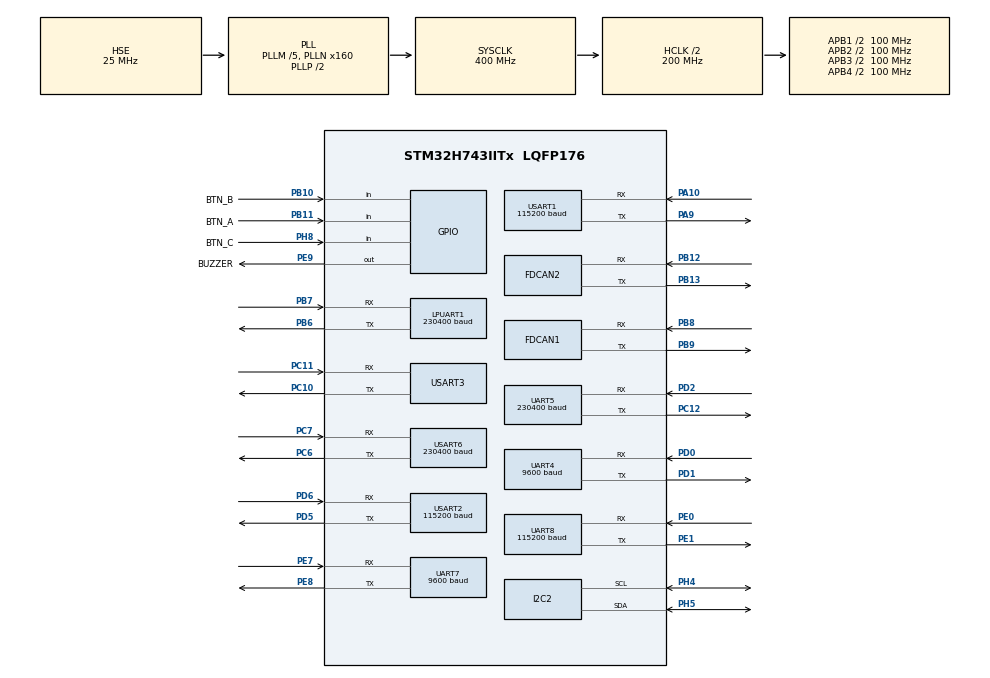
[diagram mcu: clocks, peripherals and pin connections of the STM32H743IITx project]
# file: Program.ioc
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CORTEX_M7.default_mode_Activation=1
Dma.Request0=USART1_RX
Dma.Request1=UART7_RX
Dma.UART7_RX.1.Direction=DMA_PERIPH_TO_MEMORY
Dma.UART7_RX.1.EventEnable=DISABLE
Dma.UART7_RX.1.FIFOMode=DMA_FIFOMODE_DISABLE
Dma.UART7_RX.1.Instance=DMA1_Stream1
Dma.UART7_RX.1.MemDataAlignment=DMA_MDATAALIGN_BYTE
Dma.UART7_RX.1.MemInc=DMA_MINC_ENABLE
Dma.UART7_RX.1.Mode=DMA_NORMAL
Dma.UART7_RX.1.PeriphDataAlignment=DMA_PDATAALIGN_BYTE
Dma.UART7_RX.1.PeriphInc=DMA_PINC_DISABLE
Dma.UART7_RX.1.Polarity=HAL_DMAMUX_REQ_GEN_RISING
Dma.UART7_RX.1.Priority=DMA_PRIORITY_MEDIUM
Dma.UART7_RX.1.RequestNumber=1
Dma.UART7_RX.1.SignalID=NONE
Dma.UART7_RX.1.SyncEnable=DISABLE
Dma.UART7_RX.1.SyncPolarity=HAL_DMAMUX_SYNC_NO_EVENT
Dma.UART7_RX.1.SyncRequestNumber=1
Dma.UART7_RX.1.SyncSignalID=NONE
Dma.USART1_RX.0.Direction=DMA_PERIPH_TO_MEMORY
Dma.USART1_RX.0.EventEnable=DISABLE
Dma.USART1_RX.0.FIFOMode=DMA_FIFOMODE_DISABLE
Dma.USART1_RX.0.Instance=DMA1_Stream0
Dma.USART1_RX.0.MemDataAlignment=DMA_MDATAALIGN_BYTE
Dma.USART1_RX.0.MemInc=DMA_MINC_ENABLE
Dma.USART1_RX.0.Mode=DMA_NORMAL
Dma.USART1_RX.0.PeriphDataAlignment=DMA_PDATAALIGN_BYTE
Dma.USART1_RX.0.PeriphInc=DMA_PINC_DISABLE
Dma.USART1_RX.0.Polarity=HAL_DMAMUX_REQ_GEN_RISING
Dma.USART1_RX.0.Priority=DMA_PRIORITY_MEDIUM
Dma.USART1_RX.0.RequestNumber=1
Dma.USART1_RX.0.SignalID=NONE
Dma.USART1_RX.0.SyncEnable=DISABLE
Dma.USART1_RX.0.SyncPolarity=HAL_DMAMUX_SYNC_NO_EVENT
Dma.USART1_RX.0.SyncRequestNumber=1
Dma.USART1_RX.0.SyncSignalID=NONE
FDCAN1.AutoRetransmission=ENABLE
FDCAN1.CalculateBaudRateNominal=1000000
FDCAN1.CalculateTimeBitNominal=1000
FDCAN1.CalculateTimeQuantumNominal=40.0
FDCAN1.DataPrescaler=4
FDCAN1.DataSyncJumpWidth=6
FDCAN1.DataTimeSeg1=18
FDCAN1.DataTimeSeg2=6
FDCAN1.FrameFormat=FDCAN_FRAME_CLASSIC
FDCAN1.NominalPrescaler=4
FDCAN1.NominalSyncJumpWidth=6
FDCAN1.NominalTimeSeg1=18
FDCAN1.NominalTimeSeg2=6
FDCAN1.ProtocolException=ENABLE
FDCAN1.RxFifo0ElmtsNbr=8
FDCAN1.StdFiltersNbr=1
FDCAN1.TxFifoQueueElmtsNbr=8
FDCAN2.AutoRetransmission=ENABLE
FDCAN2.CalculateBaudRateNominal=1000000
FDCAN2.CalculateTimeBitNominal=1000
FDCAN2.CalculateTimeQuantumNominal=40.0
FDCAN2.DataPrescaler=4
FDCAN2.DataSyncJumpWidth=6
FDCAN2.DataTimeSeg1=18
FDCAN2.DataTimeSeg2=6
FDCAN2.FrameFormat=FDCAN_FRAME_CLASSIC
FDCAN2.MessageRAMOffset=128
FDCAN2.NominalPrescaler=4
FDCAN2.NominalSyncJumpWidth=6
FDCAN2.NominalTimeSeg1=18
FDCAN2.NominalTimeSeg2=6
FDCAN2.ProtocolException=ENABLE
FDCAN2.RxFifo0ElmtsNbr=8
FDCAN2.StdFiltersNbr=1
FDCAN2.TxFifoQueueElmtsNbr=8
FREERTOS.Tasks01=defaultTask,24,256,StartDefaultTask,Default,NULL,Dynamic,NULL,NULL;chassisTask,40,1024,StartChassisTask,Default,NULL,Dynamic,NULL,NULL;armTask,32,512,StartArmTask,Default,NULL,Dynamic,NULL,NULL;armTestTask,16,256,StartArmTestTask,Default,NULL,Dynamic,NULL,NULL;canHostTask,24,512,StartCanHostTask,Default,NULL,Dynamic,NULL,NULL;OPSUartTask,24,1024,StartOPSUartTask,Default,NULL,Dynamic,NULL,NULL;oledTask,16,512,StartOledTask,Default,NULL,Dynamic,NULL,NULL
FREERTOS.configMINIMAL_STACK_SIZE=128
FREERTOS.configTIMER_TASK_STACK_DEPTH=256
FREERTOS.configTOTAL_HEAP_SIZE=65536
I2C2.Timing=0x00901954
LPUART1.BaudRate=230400
LPUART1.Parity=PARITY_NONE
LPUART1.StopBits=STOPBITS_1
LPUART1.VirtualMode-Asynchronous=VM_ASYNC
LPUART1.WordLength=WORDLENGTH_8B
Mcu.Family=STM32H7
Mcu.Name=STM32H743IITx
Mcu.Package=LQFP176
NVIC.DMA1_Stream0_IRQn=true\:5\:0\:false\:false\:true\:true\:true\:true\:true
NVIC.DMA1_Stream1_IRQn=true\:5\:0\:false\:false\:true\:true\:true\:true\:true
NVIC.FDCAN1_IT0_IRQn=true\:5\:0\:false\:false\:true\:true\:true\:true\:true
NVIC.FDCAN2_IT0_IRQn=true\:5\:0\:false\:false\:true\:true\:true\:true\:true
NVIC.LPUART1_IRQn=true\:5\:0\:false\:false\:true\:true\:true\:true\:true
NVIC.PriorityGroup=NVIC_PRIORITYGROUP_4
NVIC.TIM2_IRQn=true\:15\:0\:false\:false\:true\:false\:false\:true\:true
NVIC.TimeBase=TIM2_IRQn
NVIC.TimeBaseIP=TIM2
NVIC.UART4_IRQn=true\:5\:0\:false\:false\:true\:true\:true\:true\:true
NVIC.UART5_IRQn=true\:5\:0\:false\:false\:true\:true\:true\:true\:true
NVIC.UART7_IRQn=true\:5\:0\:false\:false\:true\:true\:true\:true\:true
NVIC.UART8_IRQn=true\:5\:0\:false\:false\:true\:true\:true\:true\:true
NVIC.USART1_IRQn=true\:5\:0\:false\:false\:true\:true\:true\:true\:true
NVIC.USART2_IRQn=true\:5\:0\:false\:false\:true\:true\:true\:true\:true
NVIC.USART3_IRQn=true\:5\:0\:false\:false\:true\:true\:true\:true\:true
NVIC.USART6_IRQn=true\:5\:0\:false\:false\:true\:true\:true\:true\:true
PA10.Mode=Asynchronous
PA10.Signal=USART1_RX
PA6.Signal=S_TIM3_CH1
PA7.Signal=S_TIM3_CH2
PA9.Mode=Asynchronous
PA9.Signal=USART1_TX
PB10.GPIO_Label=BTN_B
PB10.GPIO_PuPd=GPIO_PULLUP
PB10.Signal=GPIO_Input
PB11.GPIO_Label=BTN_A
PB11.GPIO_PuPd=GPIO_PULLUP
PB11.Signal=GPIO_Input
PB12.Mode=FDCAN_Activate
PB12.Signal=FDCAN2_RX
PB13.Mode=FDCAN_Activate
PB13.Signal=FDCAN2_TX
PB6.Mode=Asynchronous
PB6.Signal=LPUART1_TX
PB7.Mode=Asynchronous
PB7.Signal=LPUART1_RX
PB8.Mode=FDCAN_Activate
PB8.Signal=FDCAN1_RX
PB9.Mode=FDCAN_Activate
PB9.Signal=FDCAN1_TX
PC10.Mode=Asynchronous
PC10.Signal=USART3_TX
PC11.Mode=Asynchronous
PC11.Signal=USART3_RX
PC12.Mode=Asynchronous
PC12.Signal=UART5_TX
PC6.Mode=Asynchronous
PC6.Signal=USART6_TX
PC7.Mode=Asynchronous
PC7.Signal=USART6_RX
PD0.Mode=Asynchronous
PD0.Signal=UART4_RX
PD1.Mode=Asynchronous
PD1.Signal=UART4_TX
PD2.Mode=Asynchronous
PD2.Signal=UART5_RX
PD5.Mode=Asynchronous
PD5.Signal=USART2_TX
PD6.Mode=Asynchronous
PD6.Signal=USART2_RX
PE0.Mode=Asynchronous
PE0.Signal=UART8_RX
PE1.Mode=Asynchronous
PE1.Signal=UART8_TX
PE7.Mode=Asynchronous
PE7.Signal=UART7_RX
PE8.Mode=Asynchronous
PE8.Signal=UART7_TX
PE9.GPIO_Label=BUZZER
PE9.PinState=GPIO_PIN_RESET
PE9.Signal=GPIO_Output
PH0-OSC_IN\ (PH0).Mode=HSE-External-Oscillator
PH0-OSC_IN\ (PH0).Signal=RCC_OSC_IN
PH1-OSC_OUT\ (PH1).Mode=HSE-External-Oscillator
PH1-OSC_OUT\ (PH1).Signal=RCC_OSC_OUT
PH4.Mode=I2C
PH4.Signal=I2C2_SCL
PH5.Mode=I2C
PH5.Signal=I2C2_SDA
PH8.GPIO_Label=BTN_C
PH8.GPIO_PuPd=GPIO_PULLUP
PH8.Signal=GPIO_Input
ProjectManager.HeapSize=0x800
ProjectManager.StackSize=0x2000
ProjectManager.TargetToolchain=MDK-ARM V5.32
RCC.ADCFreq_Value=300000000
RCC.APB1Freq_Value=100000000
RCC.APB2Freq_Value=100000000
RCC.APB3Freq_Value=100000000
RCC.APB4Freq_Value=100000000
RCC.CortexFreq_Value=400000000
RCC.D1PPRE=RCC_APB3_DIV2
RCC.D2PPRE1=RCC_APB1_DIV2
RCC.D2PPRE2=RCC_APB2_DIV2
RCC.D3PPRE=RCC_APB4_DIV2
RCC.DIVM1=5
RCC.DIVM2=5
RCC.DIVN1=160
RCC.DIVN2=120
RCC.DIVQ1=8
RCC.DIVQ2=5
RCC.HCLKFreq_Value=200000000
RCC.HPRE=RCC_HCLK_DIV2
RCC.PLLFRACN=0
RCC.PLLSourceVirtual=RCC_PLLSOURCE_HSE
RCC.SYSCLKFreq_VALUE=400000000
RCC.SYSCLKSource=RCC_SYSCLKSOURCE_PLLCLK
RCC.USBFreq_Value=100000000
SH.S_TIM3_CH1.0=TIM3_CH1
SH.S_TIM3_CH2.0=TIM3_CH2
UART4.BaudRate=9600
UART4.Parity=PARITY_NONE
UART4.StopBits=STOPBITS_1
UART4.VirtualMode-Asynchronous=VM_ASYNC
UART4.WordLength=WORDLENGTH_8B
UART5.BaudRate=230400
UART5.Parity=PARITY_NONE
UART5.StopBits=STOPBITS_1
UART5.VirtualMode-Asynchronous=VM_ASYNC
UART5.WordLength=WORDLENGTH_8B
UART7.BaudRate=9600
UART7.Parity=PARITY_NONE
UART7.StopBits=STOPBITS_1
UART7.VirtualMode-Asynchronous=VM_ASYNC
UART7.WordLength=WORDLENGTH_8B
UART8.BaudRate=115200
UART8.Parity=PARITY_NONE
UART8.StopBits=STOPBITS_1
UART8.VirtualMode-Asynchronous=VM_ASYNC
UART8.WordLength=WORDLENGTH_8B
USART1.BaudRate=115200
USART1.Parity=PARITY_NONE
USART1.StopBits=STOPBITS_1
USART1.VirtualMode-Asynchronous=VM_ASYNC
USART1.WordLength=WORDLENGTH_8B
USART2.BaudRate=115200
USART2.Parity=PARITY_NONE
USART2.StopBits=STOPBITS_1
USART2.VirtualMode-Asynchronous=VM_ASYNC
USART2.WordLength=WORDLENGTH_8B
USART3.VirtualMode-Asynchronous=VM_ASYNC
USART6.BaudRate=230400
USART6.Parity=PARITY_NONE
USART6.StopBits=STOPBITS_1
USART6.VirtualMode-Asynchronous=VM_ASYNC
USART6.WordLength=WORDLENGTH_8B
VP_FREERTOS_VS_CMSIS_V2.Mode=CMSIS_V2
VP_MEMORYMAP_VS_MEMORYMAP.Mode=CurAppReg
VP_SYS_VS_tim2.Mode=TIM2
board=custom

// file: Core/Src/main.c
/* USER CODE BEGIN Header */
/**
  ******************************************************************************
  * @file           : main.c
  * @brief          : Main program body
  ******************************************************************************
  * @attention
  *
  * Copyright (c) 2026 STMicroelectronics.
  * All rights reserved.
  *
  * This software is licensed under terms that can be found in the LICENSE file
  * in the root directory of this software component.
  * If no LICENSE file comes with this software, it is provided AS-IS.
  *
  ******************************************************************************
  */
/* USER CODE END Header */
#include "main.h"
#include "cmsis_os.h"

/* USER CODE BEGIN Includes */
#include "DJIMotorCtrlSTM32.h"
#include "ChassisCtrl.h"
#include "OPS.h"
#include "Servo.h"
#include "HWT101CT.h"
#include "OLED_SSD1309.h"
#include "NUC_Obstacle.h"
#include "Board.h"
#include "MedicalTask.h"
#include "STP23L.h"
#include "PID.h"

/* USER CODE END Includes */

FDCAN_HandleTypeDef hfdcan1;
FDCAN_HandleTypeDef hfdcan2;

I2C_HandleTypeDef hi2c2;

UART_HandleTypeDef hlpuart1;
UART_HandleTypeDef huart4;
UART_HandleTypeDef huart5;
UART_HandleTypeDef huart7;
UART_HandleTypeDef huart8;
UART_HandleTypeDef huart1;
UART_HandleTypeDef huart2;
UART_HandleTypeDef huart3;
UART_HandleTypeDef huart6;
DMA_HandleTypeDef hdma_uart7_rx;
DMA_HandleTypeDef hdma_usart1_rx;

/* Definitions for defaultTask */
osThreadId_t defaultTaskHandle;
const osThreadAttr_t defaultTask_attributes = {
  .name = "defaultTask",
  .stack_size = 256 * 4,
  .priority = (osPriority_t) osPriorityNormal,
};
/* Definitions for chassisTask */
osThreadId_t chassisTaskHandle;
const osThreadAttr_t chassisTask_attributes = {
  .name = "chassisTask",
  .stack_size = 1024 * 4,
  .priority = (osPriority_t) osPriorityHigh,
};
/* Definitions for armTask */
osThreadId_t armTaskHandle;
const osThreadAttr_t armTask_attributes = {
  .name = "armTask",
  .stack_size = 512 * 4,
  .priority = (osPriority_t) osPriorityAboveNormal,
};
/* Definitions for canHostTask */
osThreadId_t canHostTaskHandle;
const osThreadAttr_t canHostTask_attributes = {
  .name = "canHostTask",
  .stack_size = 512 * 4,
  .priority = (osPriority_t) osPriorityNormal,
};
/* Definitions for OPSUartTask */
osThreadId_t OPSUartTaskHandle;
const osThreadAttr_t OPSUartTask_attributes = {
  .name = "OPSUartTask",
  .stack_size = 1024 * 4,
  .priority = (osPriority_t) osPriorityNormal,
};
/* Definitions for oledTask */
osThreadId_t oledTaskHandle;
const osThreadAttr_t oledTask_attributes = {
  .name = "oledTask",
  .stack_size = 512 * 4,
  .priority = (osPriority_t) osPriorityBelowNormal,
};

void SystemClock_Config(void);
static void MPU_Config(void);
static void MX_GPIO_Init(void);
static void MX_DMA_Init(void);
static void MX_FDCAN1_Init(void);
static void MX_FDCAN2_Init(void);
static void MX_I2C2_Init(void);
static void MX_USART1_UART_Init(void);
static void MX_USART2_UART_Init(void);
static void MX_USART3_UART_Init(void);
static void MX_USART6_UART_Init(void);
static void MX_UART4_Init(void);
static void MX_UART5_Init(void);
static void MX_UART7_Init(void);
static void MX_UART8_Init(void);
static void MX_LPUART1_UART_Init(void);
void StartDefaultTask(void *argument);
void StartChassisTask(void *argument);
void StartArmTask(void *argument);
void StartCanHostTask(void *argument);
void StartOPSUartTask(void *argument);
void StartOledTask(void *argument);

/* USER CODE BEGIN 0 */
volatile int16_t g_nuc_x = 0;
volatile int16_t g_nuc_y = 0;
volatile uint8_t g_nuc_valid = 0;
/* USER CODE END 0 */

int main(void)
{

  /* MPU Configuration--------------------------------------------------------*/
  MPU_Config();

  /* MCU Configuration--------------------------------------------------------*/

  /* Reset of all peripherals, Initializes the Flash interface and the Systick. */
  HAL_Init();

  /* Configure the system clock */
  SystemClock_Config();

  /* Initialize all configured peripherals */
  MX_GPIO_Init();
  MX_DMA_Init();
  MX_FDCAN1_Init();
  MX_FDCAN2_Init();
  MX_I2C2_Init();
  MX_USART1_UART_Init();
  MX_USART2_UART_Init();
  MX_USART3_UART_Init();
  MX_USART6_UART_Init();
  MX_UART4_Init();
  MX_UART5_Init();
  MX_UART7_Init();
  MX_UART8_Init();
  MX_LPUART1_UART_Init();
  /* USER CODE BEGIN 2 */

  SERVO_Init();
  STP23L_Init();
  HWT101_Init();
  while (!HWT101_IsOnline())
  {
	BUZZ_On();
    HAL_Delay(10);
  }
  BUZZ_Off();
  HAL_Delay(2000);
  HWT101_CaliYaw();
  OPS_Init();

  PID_SetX(0.5f, 0.0f, 0.08f, -40.0f, 40.0f, 0.0f);
  PID_SetY(0.5f, 0.0f, 0.08f, -40.0f, 40.0f, 0.0f);
  PID_SetZ(1.2f, 0.0f, 0.0f, -120.0f, 120.0f, 0.0f);

  NUC_Obstacle_Init();
  while (!NUC_IsOnline())
  {
    (void)NUC_Obstacle_SendPing();
    BUZZ_Beep(100U);
    HAL_Delay(300U);
  }
  MedicalTask_Init();
  /* USER CODE END 2 */

  /* Init scheduler */
  osKernelInitialize();

  /* Create the thread(s) */
  /* creation of defaultTask */
  defaultTaskHandle = osThreadNew(StartDefaultTask, NULL, &defaultTask_attributes);

  /* creation of chassisTask */
  chassisTaskHandle = osThreadNew(StartChassisTask, NULL, &chassisTask_attributes);

  /* creation of armTask */
  armTaskHandle = osThreadNew(StartArmTask, NULL, &armTask_attributes);

  /* creation of canHostTask */
  canHostTaskHandle = osThreadNew(StartCanHostTask, NULL, &canHostTask_attributes);

  /* creation of OPSUartTask */
  OPSUartTaskHandle = osThreadNew(StartOPSUartTask, NULL, &OPSUartTask_attributes);

  /* creation of oledTask */
  oledTaskHandle = osThreadNew(StartOledTask, NULL, &oledTask_attributes);

  /* Start scheduler */
  osKernelStart();

  /* We should never get here as control is now taken by the scheduler */

  /* Infinite loop */
  while (1)
  {

  }
}

void SystemClock_Config(void)
{
  RCC_OscInitTypeDef RCC_OscInitStruct = {0};
  RCC_ClkInitTypeDef RCC_ClkInitStruct = {0};

  /** Supply configuration update enable
  */
  HAL_PWREx_ConfigSupply(PWR_LDO_SUPPLY);

  /** Configure the main internal regulator output voltage
  */
  __HAL_PWR_VOLTAGESCALING_CONFIG(PWR_REGULATOR_VOLTAGE_SCALE1);

  while(!__HAL_PWR_GET_FLAG(PWR_FLAG_VOSRDY)) {}

  /** Initializes the RCC Oscillators according to the specified parameters
  * in the RCC_OscInitTypeDef structure.
  */
  RCC_OscInitStruct.OscillatorType = RCC_OSCILLATORTYPE_HSE;
  RCC_OscInitStruct.HSEState = RCC_HSE_ON;
  RCC_OscInitStruct.PLL.PLLState = RCC_PLL_ON;
  RCC_OscInitStruct.PLL.PLLSource = RCC_PLLSOURCE_HSE;
  RCC_OscInitStruct.PLL.PLLM = 5;
  RCC_OscInitStruct.PLL.PLLN = 160;
  RCC_OscInitStruct.PLL.PLLP = 2;
  RCC_OscInitStruct.PLL.PLLQ = 8;
  RCC_OscInitStruct.PLL.PLLR = 2;
  RCC_OscInitStruct.PLL.PLLRGE = RCC_PLL1VCIRANGE_2;
  RCC_OscInitStruct.PLL.PLLVCOSEL = RCC_PLL1VCOWIDE;
  RCC_OscInitStruct.PLL.PLLFRACN = 0;
  if (HAL_RCC_OscConfig(&RCC_OscInitStruct) != HAL_OK)
  {
    Error_Handler();
  }

  /** Initializes the CPU, AHB and APB buses clocks
  */
  RCC_ClkInitStruct.ClockType = RCC_CLOCKTYPE_HCLK|RCC_CLOCKTYPE_SYSCLK
                              |RCC_CLOCKTYPE_PCLK1|RCC_CLOCKTYPE_PCLK2
                              |RCC_CLOCKTYPE_D3PCLK1|RCC_CLOCKTYPE_D1PCLK1;
  RCC_ClkInitStruct.SYSCLKSource = RCC_SYSCLKSOURCE_PLLCLK;
  RCC_ClkInitStruct.SYSCLKDivider = RCC_SYSCLK_DIV1;
  RCC_ClkInitStruct.AHBCLKDivider = RCC_HCLK_DIV2;
  RCC_ClkInitStruct.APB3CLKDivider = RCC_APB3_DIV2;
  RCC_ClkInitStruct.APB1CLKDivider = RCC_APB1_DIV2;
  RCC_ClkInitStruct.APB2CLKDivider = RCC_APB2_DIV2;
  RCC_ClkInitStruct.APB4CLKDivider = RCC_APB4_DIV2;

  if (HAL_RCC_ClockConfig(&RCC_ClkInitStruct, FLASH_LATENCY_2) != HAL_OK)
  {
    Error_Handler();
  }
}

static void MX_FDCAN1_Init(void)
{

  hfdcan1.Instance = FDCAN1;
  hfdcan1.Init.FrameFormat = FDCAN_FRAME_CLASSIC;
  hfdcan1.Init.Mode = FDCAN_MODE_NORMAL;
  hfdcan1.Init.AutoRetransmission = ENABLE;
  hfdcan1.Init.TransmitPause = DISABLE;
  hfdcan1.Init.ProtocolException = ENABLE;
  hfdcan1.Init.NominalPrescaler = 4;
  hfdcan1.Init.NominalSyncJumpWidth = 6;
  hfdcan1.Init.NominalTimeSeg1 = 18;
  hfdcan1.Init.NominalTimeSeg2 = 6;
  hfdcan1.Init.DataPrescaler = 4;
  hfdcan1.Init.DataSyncJumpWidth = 6;
  hfdcan1.Init.DataTimeSeg1 = 18;
  hfdcan1.Init.DataTimeSeg2 = 6;
  hfdcan1.Init.MessageRAMOffset = 0;
  hfdcan1.Init.StdFiltersNbr = 1;
  hfdcan1.Init.ExtFiltersNbr = 0;
  hfdcan1.Init.RxFifo0ElmtsNbr = 8;
  hfdcan1.Init.RxFifo0ElmtSize = FDCAN_DATA_BYTES_8;
  hfdcan1.Init.RxFifo1ElmtsNbr = 0;
  hfdcan1.Init.RxFifo1ElmtSize = FDCAN_DATA_BYTES_8;
  hfdcan1.Init.RxBuffersNbr = 0;
  hfdcan1.Init.RxBufferSize = FDCAN_DATA_BYTES_8;
  hfdcan1.Init.TxEventsNbr = 0;
  hfdcan1.Init.TxBuffersNbr = 0;
  hfdcan1.Init.TxFifoQueueElmtsNbr = 8;
  hfdcan1.Init.TxFifoQueueMode = FDCAN_TX_FIFO_OPERATION;
  hfdcan1.Init.TxElmtSize = FDCAN_DATA_BYTES_8;
  if (HAL_FDCAN_Init(&hfdcan1) != HAL_OK)
  {
    Error_Handler();
  }

}

static void MX_FDCAN2_Init(void)
{

  hfdcan2.Instance = FDCAN2;
  hfdcan2.Init.FrameFormat = FDCAN_FRAME_CLASSIC;
  hfdcan2.Init.Mode = FDCAN_MODE_NORMAL;
  hfdcan2.Init.AutoRetransmission = ENABLE;
  hfdcan2.Init.TransmitPause = DISABLE;
  hfdcan2.Init.ProtocolException = ENABLE;
  hfdcan2.Init.NominalPrescaler = 4;
  hfdcan2.Init.NominalSyncJumpWidth = 6;
  hfdcan2.Init.NominalTimeSeg1 = 18;
  hfdcan2.Init.NominalTimeSeg2 = 6;
  hfdcan2.Init.DataPrescaler = 4;
  hfdcan2.Init.DataSyncJumpWidth = 6;
  hfdcan2.Init.DataTimeSeg1 = 18;
  hfdcan2.Init.DataTimeSeg2 = 6;
  /* Keep FDCAN2 message RAM separate from the FDCAN1 allocation. */
  hfdcan2.Init.MessageRAMOffset = 128;
  hfdcan2.Init.StdFiltersNbr = 1;
  hfdcan2.Init.ExtFiltersNbr = 0;
  hfdcan2.Init.RxFifo0ElmtsNbr = 8;
  hfdcan2.Init.RxFifo0ElmtSize = FDCAN_DATA_BYTES_8;
  hfdcan2.Init.RxFifo1ElmtsNbr = 0;
  hfdcan2.Init.RxFifo1ElmtSize = FDCAN_DATA_BYTES_8;
  hfdcan2.Init.RxBuffersNbr = 0;
  hfdcan2.Init.RxBufferSize = FDCAN_DATA_BYTES_8;
  hfdcan2.Init.TxEventsNbr = 0;
  hfdcan2.Init.TxBuffersNbr = 0;
  hfdcan2.Init.TxFifoQueueElmtsNbr = 8;
  hfdcan2.Init.TxFifoQueueMode = FDCAN_TX_FIFO_OPERATION;
  hfdcan2.Init.TxElmtSize = FDCAN_DATA_BYTES_8;
  if (HAL_FDCAN_Init(&hfdcan2) != HAL_OK)
  {
    Error_Handler();
  }

}

static void MX_I2C2_Init(void)
{

  hi2c2.Instance = I2C2;
  hi2c2.Init.Timing = 0x00901954;
  hi2c2.Init.OwnAddress1 = 0;
  hi2c2.Init.AddressingMode = I2C_ADDRESSINGMODE_7BIT;
  hi2c2.Init.DualAddressMode = I2C_DUALADDRESS_DISABLE;
  hi2c2.Init.OwnAddress2 = 0;
  hi2c2.Init.OwnAddress2Masks = I2C_OA2_NOMASK;
  hi2c2.Init.GeneralCallMode = I2C_GENERALCALL_DISABLE;
  hi2c2.Init.NoStretchMode = I2C_NOSTRETCH_DISABLE;
  if (HAL_I2C_Init(&hi2c2) != HAL_OK)
  {
    Error_Handler();
  }

  /** Configure Analogue filter
  */
  if (HAL_I2CEx_ConfigAnalogFilter(&hi2c2, I2C_ANALOGFILTER_ENABLE) != HAL_OK)
  {
    Error_Handler();
  }

  /** Configure Digital filter
  */
  if (HAL_I2CEx_ConfigDigitalFilter(&hi2c2, 0) != HAL_OK)
  {
    Error_Handler();
  }

}

static void MX_LPUART1_UART_Init(void)
{

  hlpuart1.Instance = LPUART1;
  hlpuart1.Init.BaudRate = 230400;
  hlpuart1.Init.WordLength = UART_WORDLENGTH_8B;
  hlpuart1.Init.StopBits = UART_STOPBITS_1;
  hlpuart1.Init.Parity = UART_PARITY_NONE;
  hlpuart1.Init.Mode = UART_MODE_TX_RX;
  hlpuart1.Init.HwFlowCtl = UART_HWCONTROL_NONE;
  hlpuart1.Init.OneBitSampling = UART_ONE_BIT_SAMPLE_DISABLE;
  hlpuart1.Init.ClockPrescaler = UART_PRESCALER_DIV1;
  hlpuart1.AdvancedInit.AdvFeatureInit = UART_ADVFEATURE_NO_INIT;
  hlpuart1.FifoMode = UART_FIFOMODE_DISABLE;
  if (HAL_UART_Init(&hlpuart1) != HAL_OK)
  {
    Error_Handler();
  }
  if (HAL_UARTEx_SetTxFifoThreshold(&hlpuart1, UART_TXFIFO_THRESHOLD_1_8) != HAL_OK)
  {
    Error_Handler();
  }
  if (HAL_UARTEx_SetRxFifoThreshold(&hlpuart1, UART_RXFIFO_THRESHOLD_1_8) != HAL_OK)
  {
    Error_Handler();
  }
  if (HAL_UARTEx_DisableFifoMode(&hlpuart1) != HAL_OK)
  {
    Error_Handler();
  }

}

static void MX_UART4_Init(void)
{

  huart4.Instance = UART4;
  huart4.Init.BaudRate = 9600;
  huart4.Init.WordLength = UART_WORDLENGTH_8B;
  huart4.Init.Parity = UART_PARITY_NONE;
  huart4.Init.Mode = UART_MODE_TX_RX;
  huart4.Init.HwFlowCtl = UART_HWCONTROL_NONE;
  huart4.Init.OverSampling = UART_OVERSAMPLING_16;
  huart4.Init.OneBitSampling = UART_ONE_BIT_SAMPLE_DISABLE;
  huart4.Init.ClockPrescaler = UART_PRESCALER_DIV1;
  huart4.AdvancedInit.AdvFeatureInit = UART_ADVFEATURE_NO_INIT;
  if (HAL_UART_Init(&huart4) != HAL_OK)
  {
    Error_Handler();
  }
  if (HAL_UARTEx_SetTxFifoThreshold(&huart4, UART_TXFIFO_THRESHOLD_1_8) != HAL_OK)
  {
    Error_Handler();
  }
  if (HAL_UARTEx_SetRxFifoThreshold(&huart4, UART_RXFIFO_THRESHOLD_1_8) != HAL_OK)
  {
    Error_Handler();
  }
  if (HAL_UARTEx_DisableFifoMode(&huart4) != HAL_OK)
  {
    Error_Handler();
  }

}

static void MX_UART5_Init(void)
{

  huart5.Instance = UART5;
  huart5.Init.BaudRate = 230400;
  huart5.Init.WordLength = UART_WORDLENGTH_8B;
  huart5.Init.Parity = UART_PARITY_NONE;
  huart5.Init.Mode = UART_MODE_TX_RX;
  huart5.Init.HwFlowCtl = UART_HWCONTROL_NONE;
  huart5.Init.OverSampling = UART_OVERSAMPLING_16;
  huart5.Init.OneBitSampling = UART_ONE_BIT_SAMPLE_DISABLE;
  huart5.Init.ClockPrescaler = UART_PRESCALER_DIV1;
  huart5.AdvancedInit.AdvFeatureInit = UART_ADVFEATURE_NO_INIT;
  if (HAL_UART_Init(&huart5) != HAL_OK)
  {
    Error_Handler();
  }
  if (HAL_UARTEx_SetTxFifoThreshold(&huart5, UART_TXFIFO_THRESHOLD_1_8) != HAL_OK)
  {
    Error_Handler();
  }
  if (HAL_UARTEx_SetRxFifoThreshold(&huart5, UART_RXFIFO_THRESHOLD_1_8) != HAL_OK)
  {
    Error_Handler();
  }
  if (HAL_UARTEx_DisableFifoMode(&huart5) != HAL_OK)
  {
    Error_Handler();
  }

}

static void MX_UART7_Init(void)
{

  huart7.Instance = UART7;
  huart7.Init.BaudRate = 9600;
  huart7.Init.WordLength = UART_WORDLENGTH_8B;
  huart7.Init.Parity = UART_PARITY_NONE;
  huart7.Init.Mode = UART_MODE_TX_RX;
  huart7.Init.HwFlowCtl = UART_HWCONTROL_NONE;
  huart7.Init.OverSampling = UART_OVERSAMPLING_16;
  huart7.Init.OneBitSampling = UART_ONE_BIT_SAMPLE_DISABLE;
  huart7.Init.ClockPrescaler = UART_PRESCALER_DIV1;
  huart7.AdvancedInit.AdvFeatureInit = UART_ADVFEATURE_NO_INIT;
  if (HAL_UART_Init(&huart7) != HAL_OK)
  {
    Error_Handler();
  }
  if (HAL_UARTEx_SetTxFifoThreshold(&huart7, UART_TXFIFO_THRESHOLD_1_8) != HAL_OK)
  {
    Error_Handler();
  }
  if (HAL_UARTEx_SetRxFifoThreshold(&huart7, UART_RXFIFO_THRESHOLD_1_8) != HAL_OK)
  {
    Error_Handler();
  }
  if (HAL_UARTEx_DisableFifoMode(&huart7) != HAL_OK)
  {
    Error_Handler();
  }

}

static void MX_UART8_Init(void)
{

  huart8.Instance = UART8;
  huart8.Init.BaudRate = 115200;
  huart8.Init.WordLength = UART_WORDLENGTH_8B;
  huart8.Init.Parity = UART_PARITY_NONE;
  huart8.Init.Mode = UART_MODE_TX_RX;
  huart8.Init.HwFlowCtl = UART_HWCONTROL_NONE;
  huart8.Init.OverSampling = UART_OVERSAMPLING_16;
  huart8.Init.OneBitSampling = UART_ONE_BIT_SAMPLE_DISABLE;
  huart8.Init.ClockPrescaler = UART_PRESCALER_DIV1;
  huart8.AdvancedInit.AdvFeatureInit = UART_ADVFEATURE_NO_INIT;
  if (HAL_UART_Init(&huart8) != HAL_OK)
  {
    Error_Handler();
  }
  if (HAL_UARTEx_SetTxFifoThreshold(&huart8, UART_TXFIFO_THRESHOLD_1_8) != HAL_OK)
  {
    Error_Handler();
  }
  if (HAL_UARTEx_SetRxFifoThreshold(&huart8, UART_RXFIFO_THRESHOLD_1_8) != HAL_OK)
  {
    Error_Handler();
  }
  if (HAL_UARTEx_DisableFifoMode(&huart8) != HAL_OK)
  {
    Error_Handler();
  }

}

static void MX_USART1_UART_Init(void)
{

  huart1.Instance = USART1;
  huart1.Init.BaudRate = 115200;
  huart1.Init.WordLength = UART_WORDLENGTH_8B;
  huart1.Init.StopBits = UART_STOPBITS_1;
  huart1.Init.Parity = UART_PARITY_NONE;
  huart1.Init.Mode = UART_MODE_TX_RX;
  huart1.Init.HwFlowCtl = UART_HWCONTROL_NONE;
  huart1.Init.OverSampling = UART_OVERSAMPLING_16;
  huart1.Init.OneBitSampling = UART_ONE_BIT_SAMPLE_DISABLE;
  huart1.Init.ClockPrescaler = UART_PRESCALER_DIV1;
  huart1.AdvancedInit.AdvFeatureInit = UART_ADVFEATURE_NO_INIT;
  if (HAL_UART_Init(&huart1) != HAL_OK)
  {
    Error_Handler();
  }
  if (HAL_UARTEx_SetTxFifoThreshold(&huart1, UART_TXFIFO_THRESHOLD_1_8) != HAL_OK)
  {
    Error_Handler();
  }
  if (HAL_UARTEx_SetRxFifoThreshold(&huart1, UART_RXFIFO_THRESHOLD_1_8) != HAL_OK)
  {
    Error_Handler();
  }
  if (HAL_UARTEx_DisableFifoMode(&huart1) != HAL_OK)
  {
    Error_Handler();
  }

}

static void MX_USART2_UART_Init(void)
{

  huart2.Instance = USART2;
  huart2.Init.BaudRate = 115200;
  huart2.Init.WordLength = UART_WORDLENGTH_8B;
  huart2.Init.StopBits = UART_STOPBITS_1;
  huart2.Init.Parity = UART_PARITY_NONE;
  huart2.Init.Mode = UART_MODE_TX_RX;
  huart2.Init.HwFlowCtl = UART_HWCONTROL_NONE;
  huart2.Init.OverSampling = UART_OVERSAMPLING_16;
  huart2.Init.OneBitSampling = UART_ONE_BIT_SAMPLE_DISABLE;
  huart2.Init.ClockPrescaler = UART_PRESCALER_DIV1;
  huart2.AdvancedInit.AdvFeatureInit = UART_ADVFEATURE_NO_INIT;
  if (HAL_UART_Init(&huart2) != HAL_OK)
  {
    Error_Handler();
  }
  if (HAL_UARTEx_SetTxFifoThreshold(&huart2, UART_TXFIFO_THRESHOLD_1_8) != HAL_OK)
  {
    Error_Handler();
  }
  if (HAL_UARTEx_SetRxFifoThreshold(&huart2, UART_RXFIFO_THRESHOLD_1_8) != HAL_OK)
  {
    Error_Handler();
  }
  if (HAL_UARTEx_DisableFifoMode(&huart2) != HAL_OK)
  {
    Error_Handler();
  }

}

static void MX_USART3_UART_Init(void)
{

  huart3.Instance = USART3;
  huart3.Init.BaudRate = 115200;
  huart3.Init.WordLength = UART_WORDLENGTH_8B;
  huart3.Init.StopBits = UART_STOPBITS_1;
  huart3.Init.Parity = UART_PARITY_NONE;
  huart3.Init.Mode = UART_MODE_TX_RX;
  huart3.Init.HwFlowCtl = UART_HWCONTROL_NONE;
  huart3.Init.OverSampling = UART_OVERSAMPLING_16;
  huart3.Init.OneBitSampling = UART_ONE_BIT_SAMPLE_DISABLE;
  huart3.Init.ClockPrescaler = UART_PRESCALER_DIV1;
  huart3.AdvancedInit.AdvFeatureInit = UART_ADVFEATURE_NO_INIT;
  if (HAL_UART_Init(&huart3) != HAL_OK)
  {
    Error_Handler();
  }
  if (HAL_UARTEx_SetTxFifoThreshold(&huart3, UART_TXFIFO_THRESHOLD_1_8) != HAL_OK)
  {
    Error_Handler();
  }
  if (HAL_UARTEx_SetRxFifoThreshold(&huart3, UART_RXFIFO_THRESHOLD_1_8) != HAL_OK)
  {
    Error_Handler();
  }
  if (HAL_UARTEx_DisableFifoMode(&huart3) != HAL_OK)
  {
    Error_Handler();
  }

}

static void MX_USART6_UART_Init(void)
{

  huart6.Instance = USART6;
  huart6.Init.BaudRate = 230400;
  huart6.Init.WordLength = UART_WORDLENGTH_8B;
  huart6.Init.StopBits = UART_STOPBITS_1;
  huart6.Init.Parity = UART_PARITY_NONE;
  huart6.Init.Mode = UART_MODE_TX_RX;
  huart6.Init.HwFlowCtl = UART_HWCONTROL_NONE;
  huart6.Init.OverSampling = UART_OVERSAMPLING_16;
  huart6.Init.OneBitSampling = UART_ONE_BIT_SAMPLE_DISABLE;
  huart6.Init.ClockPrescaler = UART_PRESCALER_DIV1;
  huart6.AdvancedInit.AdvFeatureInit = UART_ADVFEATURE_NO_INIT;
  if (HAL_UART_Init(&huart6) != HAL_OK)
  {
    Error_Handler();
  }
  if (HAL_UARTEx_SetTxFifoThreshold(&huart6, UART_TXFIFO_THRESHOLD_1_8) != HAL_OK)
  {
    Error_Handler();
  }
  if (HAL_UARTEx_SetRxFifoThreshold(&huart6, UART_RXFIFO_THRESHOLD_1_8) != HAL_OK)
  {
    Error_Handler();
  }
  if (HAL_UARTEx_DisableFifoMode(&huart6) != HAL_OK)
  {
    Error_Handler();
  }

}

static void MX_DMA_Init(void)
{

  /* DMA controller clock enable */
  __HAL_RCC_DMA1_CLK_ENABLE();

  /* DMA interrupt init */
  /* DMA1_Stream0_IRQn interrupt configuration */
  HAL_NVIC_SetPriority(DMA1_Stream0_IRQn, 5, 0);
  HAL_NVIC_EnableIRQ(DMA1_Stream0_IRQn);
  /* DMA1_Stream1_IRQn interrupt configuration */
  HAL_NVIC_SetPriority(DMA1_Stream1_IRQn, 5, 0);
  HAL_NVIC_EnableIRQ(DMA1_Stream1_IRQn);

}

static void MX_GPIO_Init(void)
{
  GPIO_InitTypeDef GPIO_InitStruct = {0};

  /* GPIO Ports Clock Enable */
  __HAL_RCC_GPIOH_CLK_ENABLE();
  __HAL_RCC_GPIOA_CLK_ENABLE();
  __HAL_RCC_GPIOE_CLK_ENABLE();
  __HAL_RCC_GPIOB_CLK_ENABLE();
  __HAL_RCC_GPIOC_CLK_ENABLE();
  __HAL_RCC_GPIOD_CLK_ENABLE();

  /*Configure GPIO pin Output Level */
  HAL_GPIO_WritePin(BUZZER_GPIO_Port, BUZZER_Pin, GPIO_PIN_RESET);

  /*Configure GPIO pins : PA6 PA7 */
  GPIO_InitStruct.Pin = GPIO_PIN_6|GPIO_PIN_7;
  GPIO_InitStruct.Mode = GPIO_MODE_AF_PP;
  GPIO_InitStruct.Pull = GPIO_NOPULL;
  GPIO_InitStruct.Speed = GPIO_SPEED_FREQ_LOW;
  GPIO_InitStruct.Alternate = GPIO_AF2_TIM3;
  HAL_GPIO_Init(GPIOA, &GPIO_InitStruct);

  /*Configure GPIO pin : BUZZER_Pin */
  GPIO_InitStruct.Pin = BUZZER_Pin;
  GPIO_InitStruct.Mode = GPIO_MODE_OUTPUT_PP;
  GPIO_InitStruct.Pull = GPIO_NOPULL;
  GPIO_InitStruct.Speed = GPIO_SPEED_FREQ_LOW;
  HAL_GPIO_Init(BUZZER_GPIO_Port, &GPIO_InitStruct);

  /*Configure GPIO pins : BTN_B_Pin BTN_A_Pin */
  GPIO_InitStruct.Pin = BTN_B_Pin|BTN_A_Pin;
  GPIO_InitStruct.Mode = GPIO_MODE_INPUT;
  GPIO_InitStruct.Pull = GPIO_PULLUP;
  HAL_GPIO_Init(GPIOB, &GPIO_InitStruct);

  /*Configure GPIO pin : BTN_C_Pin */
  GPIO_InitStruct.Pin = BTN_C_Pin;
  GPIO_InitStruct.Mode = GPIO_MODE_INPUT;
  GPIO_InitStruct.Pull = GPIO_PULLUP;
  HAL_GPIO_Init(BTN_C_GPIO_Port, &GPIO_InitStruct);

}

void StartDefaultTask(void *argument)
{
  /* USER CODE BEGIN 5 */
  (void)argument;
  for (;;)
  {
    g_nuc_valid = NUC_IsObstacleValid();
    /* Keep the last valid frame on screen when the stream pauses. */
    if (g_nuc_valid)
    {
      g_nuc_x = NUC_GetObstacleX();
      g_nuc_y = NUC_GetObstacleY();
    }
    osDelay(50);
  }
  /* USER CODE END 5 */
}

void StartChassisTask(void *argument)
{
  /* USER CODE BEGIN StartChassisTask */
  (void)argument;
  DJI_Motor_ChassisTask();
  /* USER CODE END StartChassisTask */
}

void StartArmTask(void *argument)
{
  /* USER CODE BEGIN StartArmTask */
  (void)argument;
  DJI_Motor_ArmStart();
  /* USER CODE END StartArmTask */
}

void StartCanHostTask(void *argument)
{
  /* USER CODE BEGIN StartCanHostTask */
  float pos_x = 0.0f;
  float pos_y = 0.0f;
  float ops_yaw_unused = 0.0f;
  float hwt_yaw = 0.0f;
  uint32_t ops_sample_ms = 0U;
  uint32_t hwt_yaw_sample_ms = 0U;
  int16_t forward_mm_s;
  int16_t left_mm_s;
  int16_t yaw_ccw_cdeg_s;
  float measured_forward_mm_s;
  float measured_left_mm_s;
  float measured_yaw_ccw_cdeg_s;
  DJI_ChassisWheelDiagnostics wheel_diagnostics;
  uint8_t wheel_online_mask;
  uint8_t dock_override;

  (void)argument;
  NUC_Nav_ClearVelocity();
  for (;;)
  {
    uint8_t ops_ok = OPS_GetPoseStamped(
        &pos_x, &pos_y, &ops_yaw_unused, &ops_sample_ms);
    uint8_t hwt_ok = HWT101_GetYawStamped(
        &hwt_yaw, &hwt_yaw_sample_ms);
    uint8_t task_state;
    NUC_NavStatus nav_status;
    /*pos_z convention: positive clockwise in the existing field frame. */
    float yaw_deg = -hwt_yaw;

    MedicalTask_Update();
    task_state = MedicalTask_GetState();
    nav_status = NUC_Nav_GetStatus();

    /* STP23L A/B/C telemetry is independent of OPS/HWT availability. */
    NUC_Nav_ServiceSTP23L();

    wheel_online_mask = DJI_Chassis_GetMeasuredVelocity(
        &measured_forward_mm_s,
        &measured_left_mm_s,
        &measured_yaw_ccw_cdeg_s);
    NUC_Nav_ServiceWheelOdom(measured_forward_mm_s,
                             measured_left_mm_s,
                             measured_yaw_ccw_cdeg_s,
                             wheel_online_mask);

    if (ops_ok && hwt_ok)
    {
      NUC_Nav_Service((int32_t)pos_x, (int32_t)pos_y,
                      (int16_t)(yaw_deg * 100.0f),
                      ops_sample_ms, hwt_yaw_sample_ms,
                      task_state, nav_status, 0U, 0U);
    }

    /* Do not allow navigation or local correction to continue with stale
     * pose/yaw or a missing wheel feedback frame. Commands reach the wheel
     * speed targets directly, including this forced zero command. */
    if ((ops_ok == 0U) || (hwt_ok == 0U) ||
        (NUC_Nav_EmergencyStopActive() != 0U) ||
        (wheel_online_mask != 0x0FU))
    {
      dock_override = 0U;
      DJI_Chassis_SetCommandImmediate(0.0f, 0.0f, 0.0f);
    }
    else
    {
      dock_override = MedicalTask_DockingControl(
          1U, pos_x, pos_y, yaw_deg,
          measured_forward_mm_s, measured_left_mm_s,
          measured_yaw_ccw_cdeg_s);
    }

    if ((ops_ok == 0U) || (hwt_ok == 0U) ||
        (NUC_Nav_EmergencyStopActive() != 0U) ||
        (wheel_online_mask != 0x0FU))
    {
      /* Safety stop already issued above. */
    }
    else if (dock_override != 0U)
    {
      /* MedicalTask owns the chassis output during final docking. */
    }
    else if (ops_ok && hwt_ok && NUC_Nav_IsOnline() &&
             MedicalTask_AllowsMotion() && nav_status == NUC_NAV_FOLLOWING &&
             NUC_Nav_GetVelocityCommand(&forward_mm_s, &left_mm_s,
                                        &yaw_ccw_cdeg_s))
    {
      if ((task_state == MEDICAL_TASK_NAV_NURSE ||
           task_state == MEDICAL_TASK_NAV_BED1 ||
           task_state == MEDICAL_TASK_NAV_BED3 ||
           task_state == MEDICAL_TASK_NAV_HOME) &&
          (forward_mm_s != 0 || left_mm_s != 0 || yaw_ccw_cdeg_s != 0))
      {
        yaw_ccw_cdeg_s = (int16_t)ChassisCtrl_NavYawUpdate(
            HWT101_GetYaw(),
            HWT101_GetWz());
      }
      DJI_Chassis_SetVelocityCommand((float)forward_mm_s, (float)left_mm_s,
                                     (float)yaw_ccw_cdeg_s);
    }
    else
    {
      DJI_Chassis_SetVelocityCommand(0.0f, 0.0f, 0.0f);
    }
    (void)DJI_Chassis_GetWheelDiagnostics(&wheel_diagnostics);
    NUC_Nav_ServiceWheelDiagnostics(
        wheel_diagnostics.target_rpm,
        wheel_diagnostics.measured_rpm,
        wheel_diagnostics.command_current,
        wheel_diagnostics.feedback_current,
        wheel_diagnostics.online_mask,
        wheel_diagnostics.current_saturation_mask);
    osDelay(10);
  }
  /* USER CODE END StartCanHostTask */
}

void StartOPSUartTask(void *argument)
{
  /* USER CODE BEGIN StartOPSUartTask */
  (void)argument;
  OPS_Task(); /* 内部 OPS_Init + 周期读取维护，永不返回 */
  /* USER CODE END StartOPSUartTask */
}

void StartOledTask(void *argument)
{
  /* USER CODE BEGIN StartOledTask */
  (void)argument;

  if (ssd1309_begin() == 0U)
  {
    for (;;)
    {
      osDelay(1000);
    }
  }

  for (;;)
  {
    char bed1_code[MEDICAL_TASK_SCAN_CODE_MAX];
    char bed3_code[MEDICAL_TASK_SCAN_CODE_MAX];
    uint16_t distance_a_mm = STP32_getA();
    uint16_t distance_b_mm = STP32_getB();
    uint16_t distance_c_mm = STP32_getC();

    ssd1309_clearDisplay();
    ssd1309_setTextSize(1U);
    ssd1309_setTextColor(SSD1309_WHITE);

    ssd1309_setCursor(0, 0);
    if (MedicalTask_GetBedScan(1U, bed1_code, sizeof(bed1_code)) != 0U)
    {
      ssd1309_printf("B1:%s", bed1_code);
    }
    else
    {
      ssd1309_print("B1:--");
    }

    ssd1309_setCursor(0, 8);
    if (MedicalTask_GetBedScan(3U, bed3_code, sizeof(bed3_code)) != 0U)
    {
      ssd1309_printf("B3:%s", bed3_code);
    }
    else
    {
      ssd1309_print("B3:--");
    }

    ssd1309_setCursor(0, 16);
    ssd1309_printf("X:%.2f", OPS_GetX());
    ssd1309_setCursor(0, 24);
    ssd1309_printf("Y:%.2f", OPS_GetY());

    ssd1309_setCursor(0, 32);
    ssd1309_printf("Z:%.1f T:%u", pos_z,
                   (unsigned int)MedicalTask_GetState());
    ssd1309_setCursor(0, 40);
    ssd1309_printf("A:%umm", (unsigned int)distance_a_mm);
    ssd1309_setCursor(0, 48);
    ssd1309_printf("B:%umm", (unsigned int)distance_b_mm);
    ssd1309_setCursor(0, 56);
    ssd1309_printf("C:%umm", (unsigned int)distance_c_mm);

    ssd1309_display();
    osDelay(100);
  }
  /* USER CODE END StartOledTask */
}

 /* MPU Configuration */

void MPU_Config(void)
{
  MPU_Region_InitTypeDef MPU_InitStruct = {0};

  /* Disables the MPU */
  HAL_MPU_Disable();

  /** Initializes and configures the Region and the memory to be protected
  */
  MPU_InitStruct.Enable = MPU_REGION_ENABLE;
  MPU_InitStruct.Number = MPU_REGION_NUMBER0;
  MPU_InitStruct.BaseAddress = 0x0;
  MPU_InitStruct.Size = MPU_REGION_SIZE_4GB;
  MPU_InitStruct.SubRegionDisable = 0x87;
  MPU_InitStruct.TypeExtField = MPU_TEX_LEVEL0;
  MPU_InitStruct.AccessPermission = MPU_REGION_NO_ACCESS;
  MPU_InitStruct.DisableExec = MPU_INSTRUCTION_ACCESS_DISABLE;
  MPU_InitStruct.IsShareable = MPU_ACCESS_SHAREABLE;
  MPU_InitStruct.IsCacheable = MPU_ACCESS_NOT_CACHEABLE;
  MPU_InitStruct.IsBufferable = MPU_ACCESS_NOT_BUFFERABLE;

  HAL_MPU_ConfigRegion(&MPU_InitStruct);
  /* Enables the MPU */
  HAL_MPU_Enable(MPU_PRIVILEGED_DEFAULT);

}

void HAL_TIM_PeriodElapsedCallback(TIM_HandleTypeDef *htim)
{
  if (htim->Instance == TIM2)
  {
    HAL_IncTick();
  }
}

void Error_Handler(void)
{
  __disable_irq();
  while (1)
  {
  }
}
